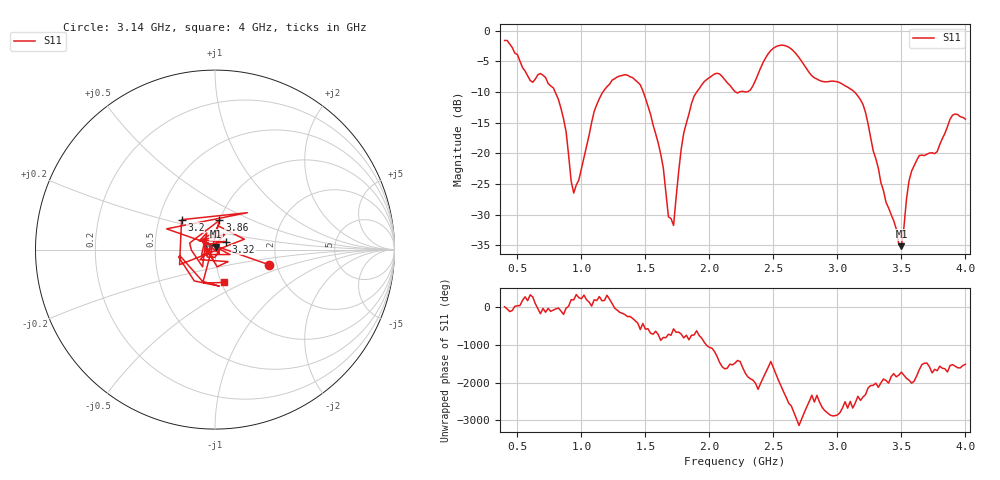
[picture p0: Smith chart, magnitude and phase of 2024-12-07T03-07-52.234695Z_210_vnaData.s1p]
!Created with skrf (http://scikit-rf.org).
# Hz S RI R 50.0
!freq ReS11 ImS11
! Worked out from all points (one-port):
!   181 points, 400 MHz to 4 GHz, reference 50 ohm
!   lowest |S11| = -35.1 dB at 3.5 GHz (marker M1), VSWR 1.04, Z = 50.4 + j1.72 ohm
!   |S11| at or under -10 dB: 794.4 MHz to 1.169 GHz (374.3 MHz wide, 38.1 % of centre); 1.483 GHz to 1.901 GHz (417.9 MHz wide, 24.7 % of centre); 3.132 GHz to end of sweep (the widest 3 of 5)
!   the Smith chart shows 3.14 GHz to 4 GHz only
!   S11 on the Smith chart (normalised r, x): 3.14 GHz: 1.81, -0.34; 3.2 GHz: 0.65, +0.23; 3.32 GHz: 1.13, +0.10; 3.86 GHz: 1.00, +0.33; 4 GHz: 1.04, -0.39
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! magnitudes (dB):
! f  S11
! 400 MHz  -1.6
! 600 MHz  -8.1
! 720 MHz  -7.6
! 860 MHz  -14.3
! 940 MHz  -26.5
! 1.12 GHz  -12.1
! 1.3 GHz  -7.4
! 1.48 GHz  -9.8
! 1.6 GHz  -18.3
! 1.68 GHz  -30.3
! 1.72 GHz  -31.7
! 1.76 GHz  -22.9
! 1.86 GHz  -11.9
! 1.94 GHz  -8.8
! 2.06 GHz  -7.0
! 2.2 GHz  -9.9
! 2.32 GHz  -9.7
! 2.5 GHz  -2.9
! 2.66 GHz  -3.4
! 2.82 GHz  -7.7
! 3.1 GHz  -9.5
! 3.14 GHz  -10.1
! 3.2 GHz  -12.0
! 3.32 GHz  -22.4
! 3.5 GHz  -35.1
! 3.56 GHz  -24.4
! 3.86 GHz  -15.7
! 4 GHz  -14.4
